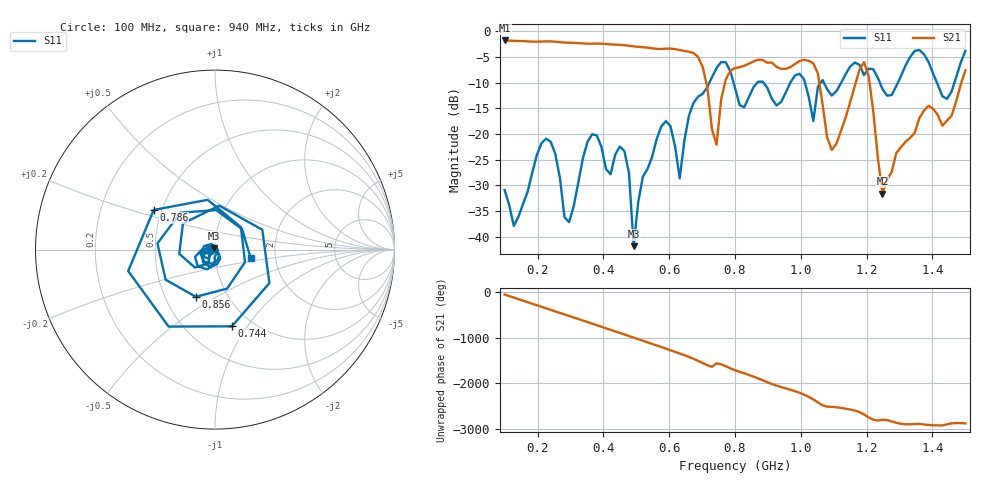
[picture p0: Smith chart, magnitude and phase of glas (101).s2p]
! NanoVNA-App
! Date: 2025-09-25 15:56:15
! Start: 100MHz Stop: 1,5GHz Points: 101
! S-Parameter data: F S11 S21 S12 S22
# Hz S RI R 50
!  Frequency  S11_Real  S11_Imag  S21_Real  S21_Imag  S12_Real  S12_Imag  S22_Real  S22_Imag
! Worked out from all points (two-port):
!   101 points, 100 MHz to 1.5 GHz, reference 50 ohm
!   highest |S21| = -1.80 dB at 100 MHz (marker M1); lowest = -31.6 dB at 1.248 GHz (marker M2)
!   |S21| within 3 dB of the highest: start of sweep to 684.2 MHz
!   lowest |S11| = -41.9 dB at 492 MHz (marker M3), VSWR 1.02, Z = 49.5 + j0.614 ohm
!   |S11| at or under -10 dB: start of sweep to 722.5 MHz; 795.5 MHz to 868 MHz (72.48 MHz wide, 8.71 % of centre); 886.1 MHz to 968.3 MHz (82.17 MHz wide, 8.86 % of centre) (the widest 3 of 7)
!   S12 and S22 are empty: the file has one direction only
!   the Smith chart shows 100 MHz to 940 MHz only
!   S11 on the Smith chart (normalised r, x): 100 MHz: 0.95, -0.01; 744 MHz: 0.81, -0.85; 786 MHz: 0.45, +0.24; 856 MHz: 0.71, -0.41; 940 MHz: 1.49, -0.15
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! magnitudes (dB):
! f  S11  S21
! 100 MHz  -31.0  -1.8
! 128 MHz  -37.9  -1.9
! 226 MHz  -20.9  -2.0
! 296 MHz  -37.2  -2.2
! 338 MHz  -24.7  -2.4
! 464 MHz  -23.4  -2.7
! 492 MHz  -41.9  -2.9
! 576 MHz  -18.5  -3.5
! 632 MHz  -28.7  -3.7
! 702 MHz  -12.2  -7.0
! 744 MHz  -7.2  -22.1
! 786 MHz  -7.8  -7.7
! 800 MHz  -11.0  -7.2
! 856 MHz  -10.9  -5.9
! 940 MHz  -13.8  -7.3
! 996 MHz  -8.3  -5.8
! 1.038 GHz  -17.5  -6.3
! 1.094 GHz  -12.5  -23.1
! 1.192 GHz  -8.5  -6.0
! 1.248 GHz  -11.3  -31.6
! 1.276 GHz  -12.4  -27.5
! 1.5 GHz  -3.8  -7.6
